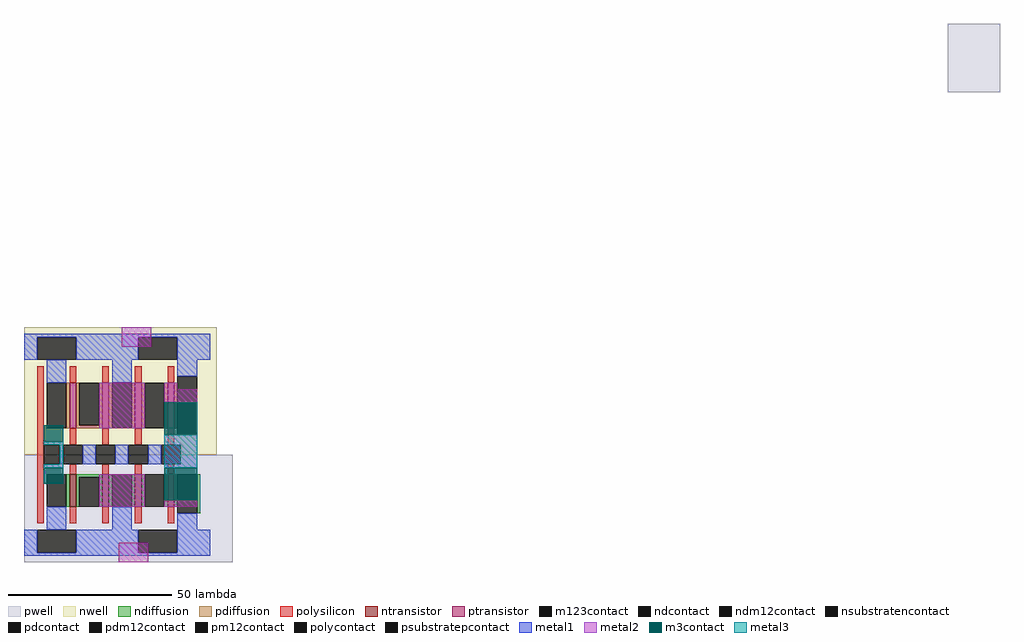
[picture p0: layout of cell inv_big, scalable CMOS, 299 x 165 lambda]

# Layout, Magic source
magic
tech scmos
<< nwell >>
rect 136 29 195 68
<< pwell >>
rect 419 140 435 161
rect 136 -4 200 29
<< ntransistor >>
rect 150 13 152 23
rect 160 13 162 23
rect 170 13 172 23
rect 180 13 182 23
<< ptransistor >>
rect 150 37 152 51
rect 160 37 162 51
rect 170 37 172 51
rect 180 37 182 51
<< ndiffusion >>
rect 149 13 150 23
rect 152 22 160 23
rect 152 13 153 22
rect 159 13 160 22
rect 162 13 163 23
rect 169 13 170 23
rect 172 13 173 23
rect 179 13 180 23
rect 182 13 183 23
rect 189 11 190 23
<< pdiffusion >>
rect 149 37 150 51
rect 152 38 153 51
rect 159 38 160 51
rect 152 37 160 38
rect 162 37 163 51
rect 169 37 170 51
rect 172 37 173 51
rect 179 37 180 51
rect 182 37 183 51
<< ndcontact >>
rect 143 13 149 23
rect 163 13 169 23
rect 183 11 189 23
<< pdcontact >>
rect 143 37 149 51
rect 163 37 169 51
rect 183 35 189 53
<< psubstratepcontact >>
rect 140 -1 152 6
rect 171 -1 183 6
<< nsubstratencontact >>
rect 140 58 152 65
rect 171 58 183 65
<< polysilicon >>
rect 140 8 142 56
rect 150 51 152 56
rect 160 51 162 56
rect 170 51 172 56
rect 180 51 182 56
rect 150 32 152 37
rect 160 32 162 37
rect 170 32 172 37
rect 180 32 182 37
rect 150 23 152 26
rect 160 23 162 26
rect 170 23 172 26
rect 180 23 182 26
rect 150 8 152 13
rect 160 8 162 13
rect 170 8 172 13
rect 180 8 182 13
<< polycontact >>
rect 158 26 164 32
rect 168 26 174 32
rect 178 26 184 32
<< metal1 >>
rect 136 65 193 66
rect 136 58 140 65
rect 152 58 171 65
rect 183 58 193 65
rect 143 51 149 58
rect 163 51 169 58
rect 183 53 189 58
rect 147 26 148 32
rect 154 26 158 32
rect 164 26 168 32
rect 174 26 178 32
rect 143 6 149 13
rect 163 6 169 13
rect 183 6 189 11
rect 136 -1 140 6
rect 152 -1 171 6
rect 183 -1 193 6
rect 136 -2 193 -1
<< pm12contact >>
rect 148 26 154 32
<< pdm12contact >>
rect 153 38 159 51
rect 173 37 179 51
<< ndm12contact >>
rect 153 13 159 22
rect 173 13 179 23
<< metal2 >>
rect 166 62 175 68
rect 159 37 173 51
rect 179 49 183 51
rect 179 45 189 49
rect 142 32 148 33
rect 147 26 148 32
rect 142 25 148 26
rect 179 25 189 35
rect 159 13 173 23
rect 179 13 189 15
rect 165 -4 174 2
<< m3contact >>
rect 142 33 148 38
rect 179 35 189 45
rect 142 20 148 25
rect 179 15 189 25
<< m123contact >>
rect 142 26 147 32
<< metal3 >>
rect 142 32 148 33
rect 147 26 148 32
rect 142 25 148 26
rect 179 25 189 35
<< end >>
